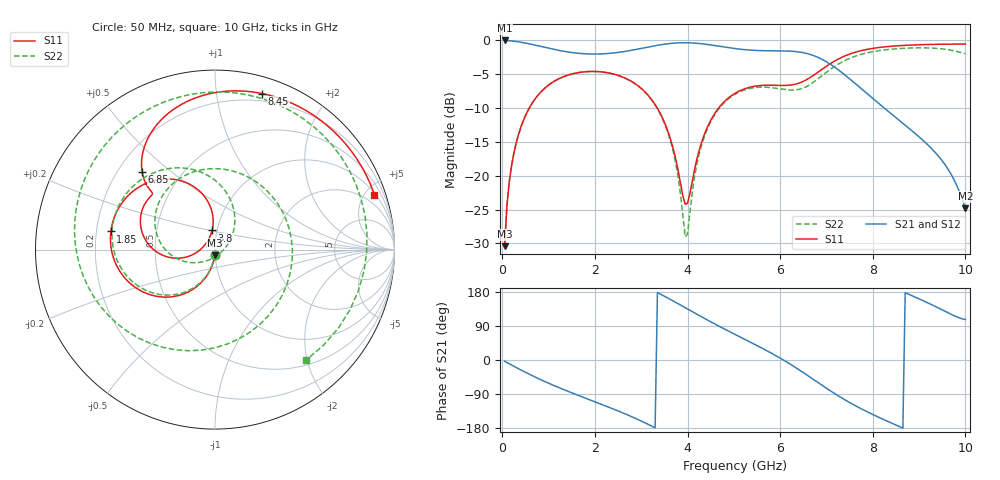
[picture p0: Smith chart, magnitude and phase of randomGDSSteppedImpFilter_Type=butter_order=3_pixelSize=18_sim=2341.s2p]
! freq	dB(S11)	phase(S11)	dB(S12)	phase(S12)
!  dB(S21)	phase(S21)	dB(S22)	phase(S22)
!S-par simulation data
#  GHz  S  DB  R 50
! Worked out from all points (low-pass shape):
!   200 points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, 50 MHz to 10 GHz, reference 50 ohm
!   highest |S21| = -0.01 dB at 50 MHz (marker M1); lowest = -24.8 dB at 10 GHz (marker M2)
!   |S21| within 3 dB of the highest: start of sweep to 6.96 GHz
!   lowest |S11| = -30.4 dB at 50 MHz (marker M3), VSWR 1.06, Z = 49.7 - j3 ohm
!   |S11| at or under -10 dB: start of sweep to 583.3 MHz; 3.347 GHz to 4.671 GHz (1.325 GHz wide, 33 % of centre)
!   |S22| runs from -30.4 to -1.1 dB; largest |S21 - S12| = 0
!   S11 on the Smith chart (normalised r, x): 50 MHz: 0.99, -0.06; 1.85 GHz: 0.26, +0.08; 3.8 GHz: 0.95, +0.20; 6.85 GHz: 0.30, +0.40; 8.45 GHz: 0.13, +1.34; 10 GHz: 1.11, +5.77
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0.05  -30.40 -93.4  -0.01 -3.4  -0.01 -3.4  -30.40 -93.6
0.2  -18.51 -103.5  -0.08 -13.3  -0.08 -13.3  -18.52 -104.0
0.5  -11.12 -122.1  -0.39 -32.4  -0.39 -32.4  -11.13 -123.8
1.75  -4.65 174.5  -1.96 -98.5  -1.96 -98.5  -4.66 167.8
1.85  -4.60 170.1  -2.00 -103.2  -2.00 -103.2  -4.61 162.8
2.7  -5.72 132.5  -1.57 -144.6  -1.57 -144.6  -5.74 118.6
3.4  -10.65 100.4  -0.67 174.8  -0.67 174.8  -10.75 72.7
3.8  -19.33 98.6  -0.36 148.3  -0.36 148.3  -20.34 30.6
4  -24.05 157.0  -0.35 134.6  -0.35 134.6  -28.64 -77.9
4.35  -14.14 -166.1  -0.53 110.8  -0.53 110.8  -14.48 -160.1
5.05  -7.72 168.1  -1.23 66.0  -1.23 66.0  -7.87 141.8
5.85  -6.63 142.7  -1.54 15.4  -1.54 15.4  -7.02 68.4
6.35  -6.43 137.7  -1.66 -21.1  -1.66 -21.1  -7.30 -0.6
6.7  -5.25 135.7  -2.19 -49.7  -2.19 -49.7  -6.27 -58.9
6.85  -4.53 133.2  -2.62 -62.2  -2.62 -62.2  -5.50 -82.6
7.2  -2.96 122.6  -4.07 -90.4  -4.07 -90.4  -3.73 -130.5
7.6  -1.79 106.7  -6.25 -119.0  -6.25 -119.0  -2.39 -173.4
8.35  -0.89 76.9  -10.57 -163.5  -10.57 -163.5  -1.33 124.7
8.45  -0.84 73.2  -11.13 -168.9  -11.13 -168.9  -1.27 117.2
9.25  -0.60 44.4  -15.85 147.2  -15.85 147.2  -1.13 51.6
9.7  -0.55 29.0  -19.89 120.2  -19.89 120.2  -1.46 -0.9
10  -0.54 19.0  -24.83 107.0  -24.83 107.0  -1.97 -50.8
